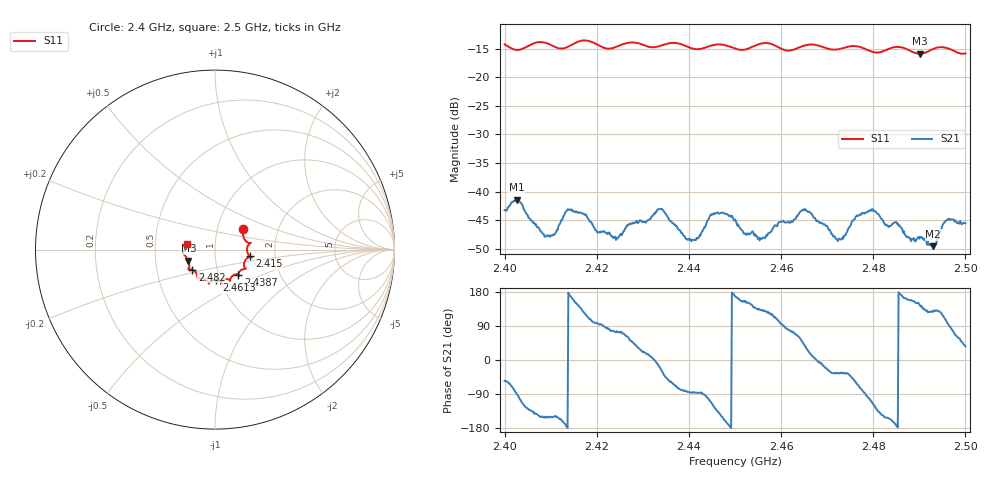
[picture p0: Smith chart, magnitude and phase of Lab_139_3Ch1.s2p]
# Hz S RI R 50
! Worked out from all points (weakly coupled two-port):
!   601 points, 2.4 GHz to 2.5 GHz, reference 50 ohm
!   highest |S21| = -41.41 dB at 2.4027 GHz (marker M1); lowest = -49.5 dB at 2.493 GHz (marker M2)
!   lowest |S11| = -15.9 dB at 2.4902 GHz (marker M3), VSWR 1.38, Z = 36.8 - j4.63 ohm
!   |S11| at or under -10 dB: start of sweep to end of sweep
!   S12 and S22 are empty: the file has one direction only
!   S11 on the Smith chart (normalised r, x): 2.4 GHz: 1.33, +0.31; 2.415 GHz: 1.47, -0.11; 2.4387 GHz: 1.24, -0.36; 2.4613 GHz: 0.96, -0.34; 2.482 GHz: 0.76, -0.17; 2.5 GHz: 0.73, +0.05
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2.4e9  0.1579 0.1126  0.00394 -0.00564  0 0  0 0
2.402667e9  0.1596 0.0676  -1.68e-05 -0.0085  0 0  0 0
2.409167e9  0.1953 0.0361  -0.00369 -0.00193  0 0  0 0
2.415e9  0.1929 -0.0364  -0.00624 0.00262  0 0  0 0
2.416667e9  0.204 -0.0442  -0.00456 0.00459  0 0  0 0
2.424167e9  0.1614 -0.0875  0.00107 0.00362  0 0  0 0
2.433333e9  0.1318 -0.1314  0.00682 -0.00158  0 0  0 0
2.438667e9  0.1307 -0.141  0.000763 -0.00417  0 0  0 0
2.441667e9  0.1027 -0.1429  0.000275 -0.00393  0 0  0 0
2.445833e9  0.0837 -0.174  -0.00415 -0.00494  0 0  0 0
2.45e9  0.0688 -0.1646  -0.0056 0.00114  0 0  0 0
2.4555e9  0.0354 -0.1931  -0.00262 0.00292  0 0  0 0
2.461333e9  0.00787 -0.1711  0.000835 0.00533  0 0  0 0
2.466667e9  -0.0346 -0.1903  0.0062 0.00126  0 0  0 0
2.4725e9  -0.0724 -0.1603  0.00317 -0.00222  0 0  0 0
2.477333e9  -0.0974 -0.1551  0.00155 -0.00605  0 0  0 0
2.482e9  -0.1261 -0.1112  -0.00471 -0.0032  0 0  0 0
2.483333e9  -0.1399 -0.1084  -0.00439 -0.00216  0 0  0 0
2.490167e9  -0.1483 -0.0612  -0.00328 0.00234  0 0  0 0
2.493e9  -0.1744 -0.0264  -0.00199 0.00267  0 0  0 0
2.496e9  -0.1793 -0.0171  -0.00092 0.00556  0 0  0 0
2.5e9  -0.1582 0.0325  0.00428 0.00311  0 0  0 0
